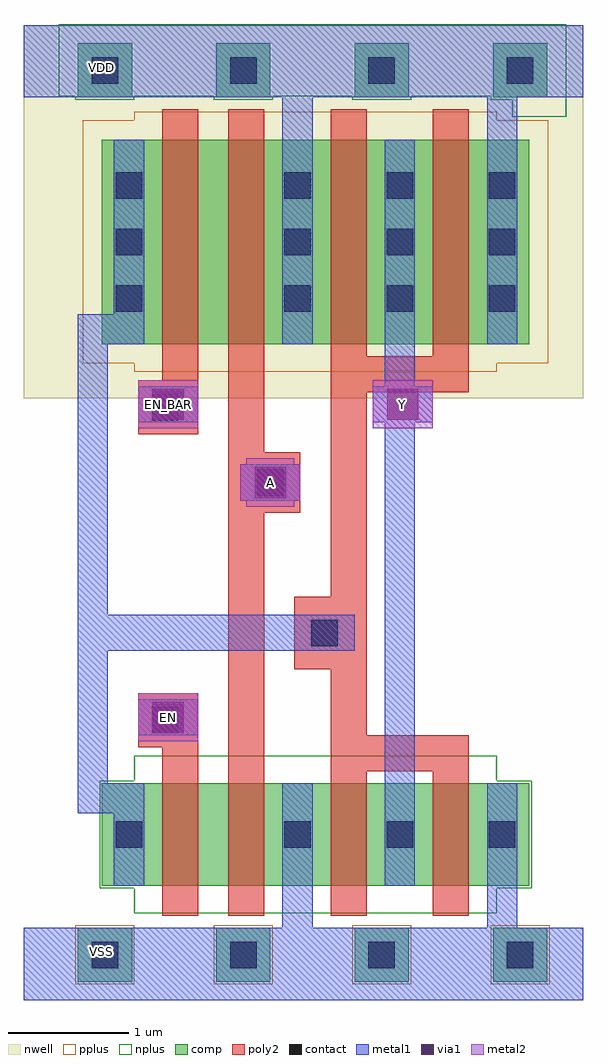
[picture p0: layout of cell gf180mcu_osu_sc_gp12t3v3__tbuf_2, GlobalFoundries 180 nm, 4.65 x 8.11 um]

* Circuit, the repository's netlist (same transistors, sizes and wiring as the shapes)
* Copyright 2022 Google LLC
*
* Licensed under the Apache License, Version 2.0 (the "License");
* you may not use this file except in compliance with the License.
* You may obtain a copy of the License at
*
*      http://www.apache.org/licenses/LICENSE-2.0
*
* Unless required by applicable law or agreed to in writing, software
* distributed under the License is distributed on an "AS IS" BASIS,
* WITHOUT WARRANTIES OR CONDITIONS OF ANY KIND, either express or implied.
* See the License for the specific language governing permissions and
* limitations under the License.

.option scale=0.05u

.subckt gf180mcu_osu_sc_gp12t3v3__tbuf_2 A Y EN EN_BAR
X0 VSS a_13_19 Y VSS nmos_3p3 w=17 l=6
X1 Y a_13_19 VSS VSS nmos_3p3 w=17 l=6
X2 a_29_19 EN a_13_19 VSS nmos_3p3 w=17 l=6
X3 Y a_13_19 VDD VDD pmos_3p3 w=34 l=6
X4 VDD a_13_19 Y VDD pmos_3p3 w=34 l=6
X5 VDD A a_29_109 VDD pmos_3p3 w=34 l=6
X6 VSS A a_29_19 VSS nmos_3p3 w=17 l=6
X7 a_29_109 EN_BAR a_13_19 VDD pmos_3p3 w=34 l=6
.ends

** hspice subcircuit dictionary

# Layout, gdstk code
import gdstk
lib = gdstk.Library(unit=1e-6, precision=1e-09)
def R(c, l, rs):  # rectangles x0, y0, x1, y1
    for r in rs: c.add(gdstk.rectangle(r[:2], r[2:], *l))
def A(c, l, x, y, w, h, nx, ny, dx, dy):  # array of equal rectangles
    R(c, l, [(x+i*dx, y+j*dy, x+i*dx+w, y+j*dy+h) for i in range(nx) for j in range(ny)])
nwell = (21, 0)
comp = (22, 0)
poly2 = (30, 0)
pplus = (31, 0)
nplus = (32, 0)
contact = (33, 0)
metal1 = (34, 0)
via1 = (35, 0)
metal2 = (36, 0)

gf180mcu_osu_sc_gp12t3v3 = lib.new_cell('gf180mcu_osu_sc_gp12t3v3__tbuf_2')
R(gf180mcu_osu_sc_gp12t3v3, nwell, [(0,5,4.65,8.1)])
A(gf180mcu_osu_sc_gp12t3v3, comp, 0.45, 0.15, 0.45, 0.45, 4, 2, 1.15, 7.35)
R(gf180mcu_osu_sc_gp12t3v3, comp, [(0.65,0.95,4.2,1.8), (0.65,5.45,4.2,7.15)])
R(gf180mcu_osu_sc_gp12t3v3, poly2, [(1.15,0.7,1.45,2.1), (1.7,0.7,2,4.05), (2.55,0.7,2.85,1.9), (3.4,0.7,3.7,1.9), (2.55,1.9,3.7,2.2), (0.95,2.1,1.45,2.55), (2.55,2.2,2.85,2.75), (2.25,2.75,2.85,3.35), (2.55,3.35,2.85,5.05), (1.7,4.05,2.3,4.55), (1.7,4.55,2,7.4), (0.95,4.7,1.45,5.15), (2.55,5.05,3.7,5.35), (1.15,5.15,1.45,7.4), (2.55,5.35,2.85,7.4), (3.4,5.35,3.7,7.4)])
A(gf180mcu_osu_sc_gp12t3v3, pplus, 0.43, 0.13, 0.49, 0.49, 4, 1, 1.15, 0)
R(gf180mcu_osu_sc_gp12t3v3, pplus, [(0.92,5.22,3.93,5.29), (0.49,5.29,4.36,7.31), (0.92,7.31,3.93,7.38)])
A(gf180mcu_osu_sc_gp12t3v3, nplus, 0.43, 7.48, 0.49, 0.03, 3, 1, 1.15, 0)
R(gf180mcu_osu_sc_gp12t3v3, nplus, [(0.92,0.72,3.93,0.93), (0.63,0.93,4.22,1.82), (0.92,1.82,3.93,2.03), (4.06,7.34,4.51,7.48), (3.88,7.48,4.51,7.51), (0.29,7.51,4.51,8.11)])
A(gf180mcu_osu_sc_gp12t3v3, contact, 0.565, 0.265, 0.22, 0.22, 4, 2, 1.15, 7.35)
A(gf180mcu_osu_sc_gp12t3v3, contact, 2.165, 1.265, 0.22, 0.22, 3, 2, 0.85, 4.455)
A(gf180mcu_osu_sc_gp12t3v3, contact, 0.765, 5.72, 0.22, 0.22, 1, 3, 0, 0.47)
A(gf180mcu_osu_sc_gp12t3v3, contact, 2.165, 6.19, 0.22, 0.22, 3, 2, 0.85, 0.47)
R(gf180mcu_osu_sc_gp12t3v3, contact, [(0.765,1.265,0.985,1.485), (1.065,2.215,1.285,2.435), (2.39,2.94,2.61,3.16), (1.94,4.19,2.16,4.41), (1.065,4.815,1.285,5.035)])
R(gf180mcu_osu_sc_gp12t3v3, metal1, [(0,0,4.65,0.6), (2.15,0.6,2.4,1.8), (3.85,0.6,4.1,1.8), (0.75,0.95,1,1.55), (3,0.95,3.25,4.8), (0.45,1.55,1,1.8), (0.45,1.8,0.7,2.9), (0.95,2.2,1.45,2.5), (0.45,2.9,2.75,3.2), (0.45,3.2,0.7,5.45), (1.8,4.15,2.3,4.45), (0.95,4.8,1.45,5.1), (2.9,4.8,3.4,5.1), (3,5.1,3.25,7.15), (0.45,5.45,1,5.7), (2.15,5.45,2.4,7.5), (3.85,5.45,4.1,7.5), (0.75,5.7,1,7.15), (0,7.5,4.65,8.1)])
R(gf180mcu_osu_sc_gp12t3v3, via1, [(1.07,2.22,1.33,2.48), (1.92,4.17,2.18,4.43), (1.07,4.82,1.33,5.08), (3.02,4.82,3.28,5.08)])
R(gf180mcu_osu_sc_gp12t3v3, metal2, [(0.95,2.15,1.45,2.55), (1.85,4.1,2.25,4.15), (1.8,4.15,2.3,4.45), (1.85,4.45,2.25,4.5), (0.95,4.75,1.45,5.15), (2.9,4.75,3.4,5.15)])
gf180mcu_osu_sc_gp12t3v3.add(gdstk.Label('VDD', (0.65,7.75), layer=34, texttype=0))
gf180mcu_osu_sc_gp12t3v3.add(gdstk.Label('VSS', (0.65,0.4), layer=34, texttype=0))
gf180mcu_osu_sc_gp12t3v3.add(gdstk.Label('A', (2.05,4.3), layer=36, texttype=10))
gf180mcu_osu_sc_gp12t3v3.add(gdstk.Label('Y', (3.15,4.95), layer=36, texttype=10))
gf180mcu_osu_sc_gp12t3v3.add(gdstk.Label('EN', (1.2,2.35), layer=36, texttype=10))
gf180mcu_osu_sc_gp12t3v3.add(gdstk.Label('EN_BAR', (1.2,4.95), layer=36, texttype=10))

lib.write_gds('gf180mcu_osu_sc_gp12t3v3__tbuf_2.gds')
